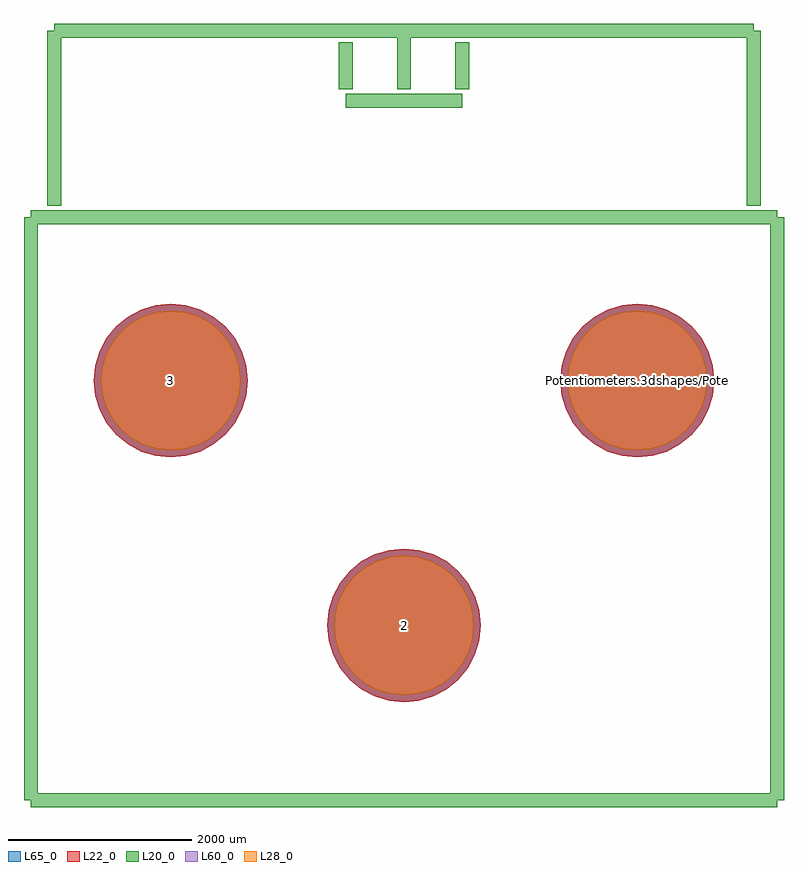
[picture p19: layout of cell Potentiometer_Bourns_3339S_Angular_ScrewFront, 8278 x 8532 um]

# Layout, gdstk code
import gdstk
lib = gdstk.Library(unit=1e-6, precision=1e-09)
def P(c, l, *ps):  # polygons
    for p in ps: c.add(gdstk.Polygon(p, *l))
L20_0 = (20, 0)
L22_0 = (22, 0)
L28_0 = (28, 0)
L60_0 = (60, 0)
L65_0 = (65, 0)

potentiometer_bourns_333 = lib.new_cell('Potentiometer_Bourns_3339S_Angular_ScrewFront')
P(potentiometer_bourns_333, L22_0, [(-4243,0),(-4259.083,163.291),(-4306.713,320.306),(-4384.06,465.012),(-4488.152,591.848),(-4614.988,695.94),(-4759.694,773.287),(-4916.709,820.917),(-5080,837),(-5243.291,820.917),(-5400.306,773.287),(-5545.012,695.94),(-5671.848,591.848),(-5775.94,465.012),(-5853.287,320.306),(-5900.917,163.291),(-5917,0),(-5900.917,-163.291),(-5853.287,-320.306),(-5775.94,-465.012),(-5671.848,-591.848),(-5545.012,-695.94),(-5400.306,-773.287),(-5243.291,-820.917),(-5080,-837),(-4916.709,-820.917),(-4759.694,-773.287),(-4614.988,-695.94),(-4488.152,-591.848),(-4384.06,-465.012),(-4306.713,-320.306),(-4259.083,-163.291)],
  [(-1703,-2667),(-1719.083,-2503.709),(-1766.713,-2346.694),(-1844.06,-2201.988),(-1948.152,-2075.152),(-2074.988,-1971.06),(-2219.694,-1893.713),(-2376.709,-1846.083),(-2540,-1830),(-2703.291,-1846.083),(-2860.306,-1893.713),(-3005.012,-1971.06),(-3131.848,-2075.152),(-3235.94,-2201.988),(-3313.287,-2346.694),(-3360.917,-2503.709),(-3377,-2667),(-3360.917,-2830.291),(-3313.287,-2987.306),(-3235.94,-3132.012),(-3131.848,-3258.848),(-3005.012,-3362.94),(-2860.306,-3440.287),(-2703.291,-3487.917),(-2540,-3504),(-2376.709,-3487.917),(-2219.694,-3440.287),(-2074.988,-3362.94),(-1948.152,-3258.848),(-1844.06,-3132.012),(-1766.713,-2987.306),(-1719.083,-2830.291)],
  [(837,0),(820.917,163.291),(773.287,320.306),(695.94,465.012),(591.848,591.848),(465.012,695.94),(320.306,773.287),(163.291,820.917),(0,837),(-163.291,820.917),(-320.306,773.287),(-465.012,695.94),(-591.848,591.848),(-695.94,465.012),(-773.287,320.306),(-820.917,163.291),(-837,0),(-820.917,-163.291),(-773.287,-320.306),(-695.94,-465.012),(-591.848,-591.848),(-465.012,-695.94),(-320.306,-773.287),(-163.291,-820.917),(0,-837),(163.291,-820.917),(320.306,-773.287),(465.012,-695.94),(591.848,-591.848),(695.94,-465.012),(773.287,-320.306),(820.917,-163.291)])
P(potentiometer_bourns_333, L28_0, [(-4318,0),(-4332.642,148.659),(-4376.004,291.605),(-4446.42,423.345),(-4541.185,538.815),(-4656.655,633.58),(-4788.395,703.996),(-4931.341,747.358),(-5080,762),(-5228.659,747.358),(-5371.605,703.996),(-5503.345,633.58),(-5618.815,538.815),(-5713.58,423.345),(-5783.996,291.605),(-5827.358,148.659),(-5842,0),(-5827.358,-148.659),(-5783.996,-291.605),(-5713.58,-423.345),(-5618.815,-538.815),(-5503.345,-633.58),(-5371.605,-703.996),(-5228.659,-747.358),(-5080,-762),(-4931.341,-747.358),(-4788.395,-703.996),(-4656.655,-633.58),(-4541.185,-538.815),(-4446.42,-423.345),(-4376.004,-291.605),(-4332.642,-148.659)],
  [(-1778,-2667),(-1792.642,-2518.341),(-1836.004,-2375.395),(-1906.42,-2243.655),(-2001.185,-2128.185),(-2116.655,-2033.42),(-2248.395,-1963.004),(-2391.341,-1919.642),(-2540,-1905),(-2688.659,-1919.642),(-2831.605,-1963.004),(-2963.345,-2033.42),(-3078.815,-2128.185),(-3173.58,-2243.655),(-3243.996,-2375.395),(-3287.358,-2518.341),(-3302,-2667),(-3287.358,-2815.659),(-3243.996,-2958.605),(-3173.58,-3090.345),(-3078.815,-3205.815),(-2963.345,-3300.58),(-2831.605,-3370.996),(-2688.659,-3414.358),(-2540,-3429),(-2391.341,-3414.358),(-2248.395,-3370.996),(-2116.655,-3300.58),(-2001.185,-3205.815),(-1906.42,-3090.345),(-1836.004,-2958.605),(-1792.642,-2815.659)],
  [(762,0),(747.358,148.659),(703.996,291.605),(633.58,423.345),(538.815,538.815),(423.345,633.58),(291.605,703.996),(148.659,747.358),(0,762),(-148.659,747.358),(-291.605,703.996),(-423.345,633.58),(-538.815,538.815),(-633.58,423.345),(-703.996,291.605),(-747.358,148.659),(-762,0),(-747.358,-148.659),(-703.996,-291.605),(-633.58,-423.345),(-538.815,-538.815),(-423.345,-633.58),(-291.605,-703.996),(-148.659,-747.358),(0,-762),(148.659,-747.358),(291.605,-703.996),(423.345,-633.58),(538.815,-538.815),(633.58,-423.345),(703.996,-291.605),(747.358,-148.659)])
P(potentiometer_bourns_333, L60_0, [(-4318,0),(-4332.642,148.659),(-4376.004,291.605),(-4446.42,423.345),(-4541.185,538.815),(-4656.655,633.58),(-4788.395,703.996),(-4931.341,747.358),(-5080,762),(-5228.659,747.358),(-5371.605,703.996),(-5503.345,633.58),(-5618.815,538.815),(-5713.58,423.345),(-5783.996,291.605),(-5827.358,148.659),(-5842,0),(-5827.358,-148.659),(-5783.996,-291.605),(-5713.58,-423.345),(-5618.815,-538.815),(-5503.345,-633.58),(-5371.605,-703.996),(-5228.659,-747.358),(-5080,-762),(-4931.341,-747.358),(-4788.395,-703.996),(-4656.655,-633.58),(-4541.185,-538.815),(-4446.42,-423.345),(-4376.004,-291.605),(-4332.642,-148.659)],
  [(-1778,-2667),(-1792.642,-2518.341),(-1836.004,-2375.395),(-1906.42,-2243.655),(-2001.185,-2128.185),(-2116.655,-2033.42),(-2248.395,-1963.004),(-2391.341,-1919.642),(-2540,-1905),(-2688.659,-1919.642),(-2831.605,-1963.004),(-2963.345,-2033.42),(-3078.815,-2128.185),(-3173.58,-2243.655),(-3243.996,-2375.395),(-3287.358,-2518.341),(-3302,-2667),(-3287.358,-2815.659),(-3243.996,-2958.605),(-3173.58,-3090.345),(-3078.815,-3205.815),(-2963.345,-3300.58),(-2831.605,-3370.996),(-2688.659,-3414.358),(-2540,-3429),(-2391.341,-3414.358),(-2248.395,-3370.996),(-2116.655,-3300.58),(-2001.185,-3205.815),(-1906.42,-3090.345),(-1836.004,-2958.605),(-1792.642,-2815.659)],
  [(762,0),(747.358,148.659),(703.996,291.605),(633.58,423.345),(538.815,538.815),(423.345,633.58),(291.605,703.996),(148.659,747.358),(0,762),(-148.659,747.358),(-291.605,703.996),(-423.345,633.58),(-538.815,538.815),(-633.58,423.345),(-703.996,291.605),(-747.358,148.659),(-762,0),(-747.358,-148.659),(-703.996,-291.605),(-633.58,-423.345),(-538.815,-538.815),(-423.345,-633.58),(-291.605,-703.996),(-148.659,-747.358),(0,-762),(148.659,-747.358),(291.605,-703.996),(423.345,-633.58),(538.815,-538.815),(633.58,-423.345),(703.996,-291.605),(747.358,-148.659)])
P(potentiometer_bourns_333, L65_0, [(-4243,0),(-4259.083,163.291),(-4306.713,320.306),(-4384.06,465.012),(-4488.152,591.848),(-4614.988,695.94),(-4759.694,773.287),(-4916.709,820.917),(-5080,837),(-5243.291,820.917),(-5400.306,773.287),(-5545.012,695.94),(-5671.848,591.848),(-5775.94,465.012),(-5853.287,320.306),(-5900.917,163.291),(-5917,0),(-5900.917,-163.291),(-5853.287,-320.306),(-5775.94,-465.012),(-5671.848,-591.848),(-5545.012,-695.94),(-5400.306,-773.287),(-5243.291,-820.917),(-5080,-837),(-4916.709,-820.917),(-4759.694,-773.287),(-4614.988,-695.94),(-4488.152,-591.848),(-4384.06,-465.012),(-4306.713,-320.306),(-4259.083,-163.291)],
  [(-1703,-2667),(-1719.083,-2503.709),(-1766.713,-2346.694),(-1844.06,-2201.988),(-1948.152,-2075.152),(-2074.988,-1971.06),(-2219.694,-1893.713),(-2376.709,-1846.083),(-2540,-1830),(-2703.291,-1846.083),(-2860.306,-1893.713),(-3005.012,-1971.06),(-3131.848,-2075.152),(-3235.94,-2201.988),(-3313.287,-2346.694),(-3360.917,-2503.709),(-3377,-2667),(-3360.917,-2830.291),(-3313.287,-2987.306),(-3235.94,-3132.012),(-3131.848,-3258.848),(-3005.012,-3362.94),(-2860.306,-3440.287),(-2703.291,-3487.917),(-2540,-3504),(-2376.709,-3487.917),(-2219.694,-3440.287),(-2074.988,-3362.94),(-1948.152,-3258.848),(-1844.06,-3132.012),(-1766.713,-2987.306),(-1719.083,-2830.291)],
  [(837,0),(820.917,163.291),(773.287,320.306),(695.94,465.012),(591.848,591.848),(465.012,695.94),(320.306,773.287),(163.291,820.917),(0,837),(-163.291,820.917),(-320.306,773.287),(-465.012,695.94),(-591.848,591.848),(-695.94,465.012),(-773.287,320.306),(-820.917,163.291),(-837,0),(-820.917,-163.291),(-773.287,-320.306),(-695.94,-465.012),(-591.848,-591.848),(-465.012,-695.94),(-320.306,-773.287),(-163.291,-820.917),(0,-837),(163.291,-820.917),(320.306,-773.287),(465.012,-695.94),(591.848,-591.848),(695.94,-465.012),(773.287,-320.306),(820.917,-163.291)])
potentiometer_bourns_333.add(gdstk.FlexPath([(-6604,-4572),(1524,-4572)], 149.998, ends="flush", simple_path=True, layer=20, datatype=0))  # L20_0
potentiometer_bourns_333.add(gdstk.FlexPath([(-6350,3810),(1270,3810)], 149.998, ends="flush", simple_path=True, layer=20, datatype=0))  # L20_0
potentiometer_bourns_333.add(gdstk.FlexPath([(-1905,3175),(-1905,3683)], 149.998, ends="flush", simple_path=True, layer=20, datatype=0))  # L20_0
potentiometer_bourns_333.add(gdstk.FlexPath([(-2540,3048),(-1905,3048)], 149.998, ends="flush", simple_path=True, layer=20, datatype=0))  # L20_0
potentiometer_bourns_333.add(gdstk.FlexPath([(-2540,3810),(-2540,3175)], 149.998, ends="flush", simple_path=True, layer=20, datatype=0))  # L20_0
potentiometer_bourns_333.add(gdstk.FlexPath([(-3175,3175),(-3175,3683)], 149.998, ends="flush", simple_path=True, layer=20, datatype=0))  # L20_0
potentiometer_bourns_333.add(gdstk.FlexPath([(-2540,3048),(-3175,3048)], 149.998, ends="flush", simple_path=True, layer=20, datatype=0))  # L20_0
potentiometer_bourns_333.add(gdstk.FlexPath([(1270,3810),(1270,1905)], 149.998, ends="flush", simple_path=True, layer=20, datatype=0))  # L20_0
potentiometer_bourns_333.add(gdstk.FlexPath([(-6350,3810),(-6350,1905)], 149.998, ends="flush", simple_path=True, layer=20, datatype=0))  # L20_0
potentiometer_bourns_333.add(gdstk.FlexPath([(-6604,1778),(1524,1778)], 149.998, ends="flush", simple_path=True, layer=20, datatype=0))  # L20_0
potentiometer_bourns_333.add(gdstk.FlexPath([(1524,1778),(1524,-4572)], 149.998, ends="flush", simple_path=True, layer=20, datatype=0))  # L20_0
potentiometer_bourns_333.add(gdstk.FlexPath([(-6604,1778),(-6604,-4572)], 149.998, ends="flush", simple_path=True, layer=20, datatype=0))  # L20_0
potentiometer_bourns_333.add(gdstk.Label('Potentiometers.3dshapes/Potentiometer_Bourns_3339S_Angular_ScrewFront.wrl', (0,0), layer=12, texttype=0))
potentiometer_bourns_333.add(gdstk.Label('3', (-5080,0), layer=28, texttype=0))
potentiometer_bourns_333.add(gdstk.Label('2', (-2540,-2667), layer=28, texttype=0))
potentiometer_bourns_333.add(gdstk.Label('1', (0,0), layer=28, texttype=0))
potentiometer_bourns_333.add(gdstk.Label('type', (-2540,-7493), layer=9, texttype=0))
potentiometer_bourns_333.add(gdstk.Label('devicename', (-2540,6477), layer=9, texttype=0))

lib.write_gds('Potentiometer_Bourns_3339S_Angular_ScrewFront.gds')
